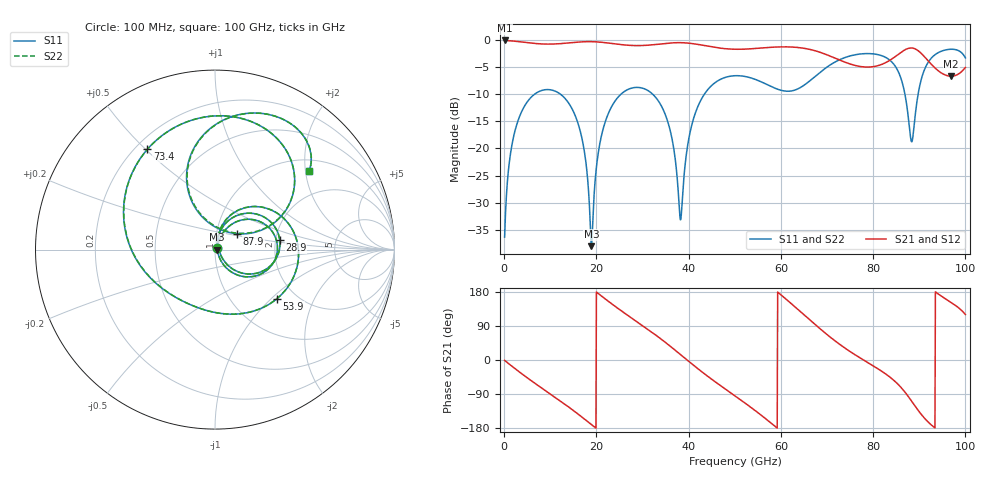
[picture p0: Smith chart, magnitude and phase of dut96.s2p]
! Touchstone file exported from HFSS 2026.1.0
!  File:  C:/ffzhzh/LocalFiles/Ansys_Project_Files/temp_train_TSV_RDL_96_1783632231_29156.aedt
!  Generated:  05:32:36 AM Jul 10, 2026
!  Design:  TSV_RDL
!  Project:  temp_train_TSV_RDL_96_1783632231_29156
! Variables:
!  h_bsmrdl = 4.08um
!  h_ox = 20um
!  h_rdl = 5um
!  h_sub = 99.26um
!  h_tmrdl = 2.29um
!  h_tsv = 99.26um
!  h_via = 3um
!  l_bsmrdl = 369.13um
!  l_sub = 2545.4um
!  l_tmrdl = 230.08um
!  m_sub = 200um
!  pitch = 44.96um
!  r_tsv = 14.34um
!  s_tmrdl = 10um
!  w_bsmrdl = 16.42um
!  w_sub = 500um
!  w_tmrdl = 22.81um
!  x_tsv_center1 = 241.485um
!  x_tsv_center2 = 627.035um
!  x_tsv_center3 = 879.925um
!  x_tsv_center4 = 1265.475um
!  x_tsv_center5 = 1518.365um
!  x_tsv_center6 = 1903.915um
# GHz S MA R 50.000000
! Terminal data exported
! Port[1] = TM_RDL1_1_T1
! Port[2] = TM_RDL5_1_T1
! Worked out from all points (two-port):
!   1000 points, 100 MHz to 100 GHz, reference 50 ohm
!   highest |S21| = -0.12 dB at 100 MHz (marker M1); lowest = -6.7 dB at 96.9 GHz (marker M2)
!   |S21| within 3 dB of the highest: start of sweep to 71.02 GHz; 84.74 GHz to 91.13 GHz (6.389 GHz wide, 7.27 % of centre)
!   lowest |S11| = -38.0 dB at 18.9 GHz (marker M3), VSWR 1.03, Z = 51.3 - j0.0134 ohm
!   |S11| at or under -10 dB: start of sweep to 6.624 GHz; 12.19 GHz to 25.34 GHz (13.16 GHz wide, 70.1 % of centre); 32.19 GHz to 43.42 GHz (11.23 GHz wide, 29.7 % of centre) (the widest 3 of 4)
!   |S22| runs from -38.2 to -1.7 dB; largest |S21 - S12| = 8.4e-14
!   S11 on the Smith chart (normalised r, x): 100 MHz: 1.03, +0.01; 28.9 GHz: 2.11, +0.26; 53.9 GHz: 1.60, -1.09; 73.4 GHz: 0.25, +0.51; 87.9 GHz: 1.26, +0.23; 100 GHz: 1.28, +2.09
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0.1  0.01527 27.4  0.9865 -1.0  0.9865 -1.0  0.01527 27.4
! Gamma 0 0 0 0
! Port Impedance 50 0 50 0
2  0.1256 62.1  0.9735 -19.4  0.9735 -19.4  0.1256 62.1
5.7  0.2914 32.9  0.9344 -53.1  0.9344 -53.1  0.2914 32.9
11.5  0.3301 -14.2  0.9181 -102.3  0.9181 -102.3  0.3301 -14.3
16.8  0.1277 -57.3  0.9576 -150.0  0.9576 -150.0  0.1277 -57.4
18.9  0.01259 -0.6  0.9614 -170.1  0.9614 -170.1  0.01226 -1.1
22  0.1801 64.7  0.9404 160.4  0.9404 160.4  0.18 64.8
28.9  0.3648 8.6  0.8848 100.1  0.8848 100.1  0.3646 8.6
33.4  0.275 -27.8  0.9112 61.0  0.9112 61.0  0.2749 -27.9
36.2  0.1344 -48.7  0.936 34.5  0.936 34.5  0.1342 -49.0
38.3  0.02215 21.7  0.9411 13.7  0.9411 13.7  0.02103 22.4
41.9  0.2377 61.8  0.9085 -22.0  0.9085 -22.0  0.2376 62.2
50.1  0.4674 -6.2  0.8188 -95.1  0.8188 -95.1  0.4672 -6.0
53.9  0.4404 -38.4  0.8289 -128.7  0.8289 -128.7  0.4401 -38.4
60.3  0.3408 -99.9  0.8612 169.0  0.8612 169.0  0.3405 -100.2
66.7  0.4338 -170.3  0.808 101.3  0.808 101.3  0.4339 -170.9
73.4  0.6744 123.9  0.6343 35.6  0.6343 35.6  0.6748 123.6
83.4  0.6605 50.8  0.6398 -42.9  0.6398 -42.9  0.6608 50.8
87.9  0.1512 35.7  0.839 -101.0  0.839 -101.0  0.1538 36.6
90.9  0.5011 107.5  0.7155 -150.3  0.7155 -150.3  0.502 107.0
96.9  0.8191 61.7  0.4625 151.8  0.4625 151.8  0.8195 61.5
100  0.6825 39.9  0.5565 120.0  0.5565 120.0  0.6829 39.8
